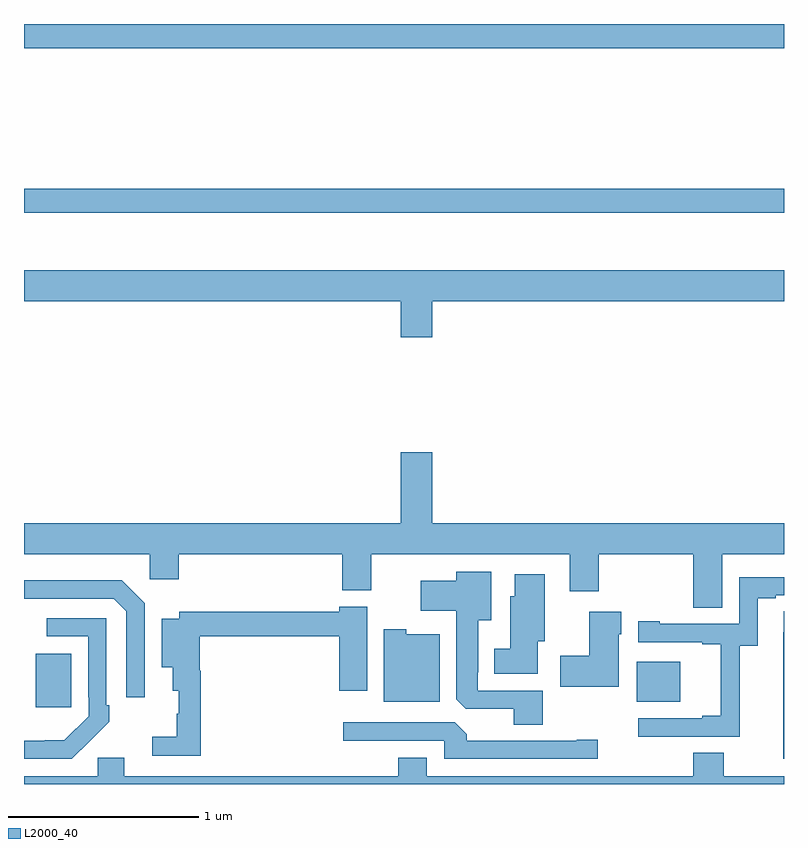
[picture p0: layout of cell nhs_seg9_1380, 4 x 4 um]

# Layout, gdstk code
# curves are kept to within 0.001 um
import gdstk
lib = gdstk.Library(unit=1e-6, precision=1e-09)
def R(c, l, rs):  # rectangles x0, y0, x1, y1
    for r in rs: c.add(gdstk.rectangle(r[:2], r[2:], *l))
def P(c, l, *ps):  # polygons
    for p in ps: c.add(gdstk.Polygon(p, *l))
L2000_40 = (2000, 40)

nhs_seg9_1380 = lib.new_cell('nhs_seg9_1380')
R(nhs_seg9_1380, L2000_40, [(187.061,1240.905,187.249,1241.185), (190.226,1240.934,190.453,1241.143), (187,1243.506,191,1243.634), (187,1244.372,191,1244.5)])
P(nhs_seg9_1380, L2000_40, [(189.148,1243.04),(191,1243.04),(191,1243.204),(187,1243.204),(187,1243.04),(188.984,1243.04),(188.984,1242.852),(189.148,1242.852)],
  [(190.675,1241.708),(191,1241.708),(191,1241.872),(189.148,1241.872),(189.148,1242.247),(188.984,1242.247),(188.984,1241.872),(187,1241.872),(187,1241.708),(187.662,1241.708),(187.662,1241.577),(187.814,1241.577),(187.814,1241.708),(188.675,1241.708),(188.675,1241.519),(188.827,1241.519),(188.827,1241.708),(189.872,1241.708),(189.872,1241.514),(190.025,1241.514),(190.025,1241.708),(190.523,1241.708),(190.523,1241.428),(190.675,1241.428)],
  [(189.731,1240.992),(189.387,1240.992),(189.387,1241.089),(189.391,1241.089),(189.391,1241.363),(189.46,1241.363),(189.46,1241.617),(189.275,1241.617),(189.275,1241.569),(189.087,1241.569),(189.087,1241.411),(189.275,1241.411),(189.275,1240.945),(189.324,1240.896),(189.578,1240.896),(189.578,1240.813),(189.731,1240.813)],
  [(189.703,1241.252),(189.742,1241.252),(189.742,1241.605),(189.584,1241.605),(189.584,1241.487),(189.56,1241.487),(189.56,1241.212),(189.476,1241.212),(189.476,1241.081),(189.703,1241.081)],
  [(190.767,1241.227),(190.861,1241.227),(190.861,1241.478),(190.957,1241.478),(190.957,1241.493),(191,1241.493),(191,1241.589),(190.764,1241.589),(190.764,1241.343),(190.345,1241.343),(190.345,1241.356),(190.233,1241.356),(190.233,1241.247),(190.571,1241.247),(190.571,1241.235),(190.667,1241.235),(190.667,1240.858),(190.571,1240.858),(190.571,1240.845),(190.233,1240.845),(190.233,1240.749),(190.767,1240.749)],
  [(187.635,1241.451),(187.514,1241.572),(187,1241.572),(187,1241.475),(187.473,1241.475),(187.539,1241.409),(187.539,1240.956),(187.635,1240.956)],
  [(187.931,1241.095),(187.925,1241.095),(187.925,1241.278),(188.66,1241.278),(188.66,1240.992),(188.806,1240.992),(188.806,1241.434),(188.66,1241.434),(188.66,1241.407),(187.818,1241.407),(187.818,1241.371),(187.724,1241.371),(187.724,1241.114),(187.784,1241.114),(187.784,1240.991),(187.814,1240.991),(187.814,1240.869),(187.803,1240.869),(187.803,1240.749),(187.674,1240.749),(187.674,1240.65),(187.931,1240.65)],
  [(191,1241.408),(190.998,1241.408),(190.998,1241.3),(190.997,1241.3),(190.997,1240.632),(191,1240.632)],
  [(190.129,1241.289),(190.144,1241.289),(190.144,1241.407),(189.974,1241.407),(189.974,1241.175),(189.822,1241.175),(189.822,1241.012),(190.129,1241.012)],
  [(187.343,1240.723),(187.344,1240.722),(187.449,1240.827),(187.449,1240.915),(187.434,1240.915),(187.434,1241.373),(187.119,1241.373),(187.119,1241.277),(187.338,1241.277),(187.338,1240.957),(187.341,1240.957),(187.341,1240.857),(187.213,1240.729),(187,1240.728),(187,1240.632),(187.252,1240.632)],
  [(189.187,1241.287),(189.012,1241.287),(189.012,1241.314),(188.894,1241.314),(188.894,1240.934),(189.187,1240.934)],
  [(190.021,1240.733),(189.908,1240.733),(189.908,1240.728),(189.329,1240.728),(189.329,1240.762),(189.267,1240.824),(188.679,1240.824),(188.679,1240.728),(189.213,1240.728),(189.213,1240.632),(190.021,1240.632)],
  [(191,1240.54),(190.683,1240.54),(190.683,1240.664),(190.523,1240.664),(190.523,1240.54),(189.121,1240.54),(189.121,1240.639),(188.969,1240.639),(188.969,1240.54),(187.528,1240.54),(187.528,1240.638),(187.389,1240.638),(187.389,1240.54),(187,1240.54),(187,1240.5),(191,1240.5)])

lib.write_gds('nhs_seg9_1380.gds')
